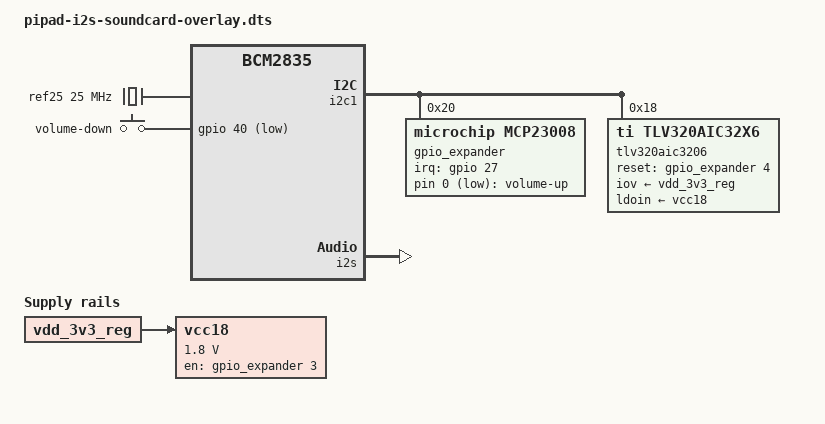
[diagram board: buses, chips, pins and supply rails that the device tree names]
#include <dt-bindings/clock/bcm2835.h>
#include <dt-bindings/gpio/gpio.h>
#include <dt-bindings/pinctrl/bcm2835.h>
#include <dt-bindings/interrupt-controller/irq.h>

/dts-v1/;
/plugin/;

/ {
    compatible = "brcm,bcm2835";
    // fragment@0 {
    //     target = <&gpio>;
    //     __overlay__ {
    //         amp_enable: amp_enable {
    //             brcm,pins = <17>;
    //             brcm,function = <1>;
    //             brcm,pull = <1>;
    //         };
    //     };
    // };

    fragment@0 {
        target = <&i2c1>;
        __overlay__ {
            #address-cells = <1>;
            #size-cells = <0>;

            gpio_expander: mcp23008@20 {
                status = "okay";
                compatible = "microchip,mcp23008";
                gpio-controller;
                #gpio-cells = <2>;
                reg = <0x20>;
                interrupt-parent = <&gpio>;
                interrupts = <27 IRQ_TYPE_LEVEL_LOW>;
                interrupt-controller;
                #interrupt-cells = <2>;

                pinctrl-names = "default";
                pinctrl-0 = <&gpio_expander_pullups>;

                gpio_expander_pullups: pinmux {
                    pins =  "gpio0";
                    bias-pull-up;
                };
            };
        };
    };

    fragment@1 {
        target-path = "/";
        __overlay__ {

            vcc18: fixedregulator@2 {
                regulator-boot-on;
                compatible = "regulator-fixed";
                regulator-name = "soundcard18";
                regulator-min-microvolt = <1800000>;
                regulator-max-microvolt = <1800000>;
                gpio = <&gpio_expander 3 0>;
                startup-delay-us = <70000>;
                enable-active-high;
                vin-supply = <&vdd_3v3_reg>;
            };

            clocks {
                ref25: ref25M {
                    compatible = "fixed-clock";
                    #clock-cells = <0>;
                    clock-frequency = <25000000>;
                    clock-output-names = "ref25M";
                };                
            };

            // amp: analog-amplifier {
            //     compatible = "simple-audio-amplifier";
            //     enable-gpios = <&gpio 17 0>;
            //     VCC-supply = <&vdd_3v3_reg>;
            // };


            gpio_keys: volume_keys0 {
                compatible = "gpio-keys";
                #address-cells = <1>;
                #size-cells = <0>;
                autorepeat;

                volume_up {
                    label = "volume-up";
                    linux,code = <115>;
                    gpios = <&gpio_expander 0 GPIO_ACTIVE_LOW>;
                    wakeup-source;
                };

                volume_down {
                    label = "volume-down";
                    linux,code = <114>;
                    gpios = <&gpio 40 GPIO_ACTIVE_LOW>;
                    wakeup-source;
                };
            };

        };
    };

    fragment@2 {
        target = <&i2c1>;
        __overlay__ {
            #address-cells = <1>;
            #size-cells = <0>;

            tlv320aic3206: tlv320aic3206@18 {
                // #address-cells = <1>;
                // #size-cells = <0>;
                status = "okay";
                #sound-dai-cells = <0>;
                compatible = "ti,tlv320aic32x6";
                reg = <0x18>;

                reset-gpios = <&gpio_expander 4 0>;
                
                iov-supply = <&vdd_3v3_reg>;
                ldoin-supply = <&vcc18>;

                clocks = <&clocks BCM2835_CLOCK_PCM>;
                clock-names = "bclk";
                ground-centered-mode;

                aic32x4-gpio-func = <
                    0xff
                    0xff
                    0xff
                    0x4  // AIC32X4_MFP_GPIO_ENABLED
                    0xc  // AIC32X4_MFP5_GPIO_OUTPUT
                >;
            };
        };
    };

    fragment@3 {
        target = <&i2s>;
        __overlay__ {
            status = "okay";
        };
    };

    fragment@4 {
        target = <&sound>;
        snd: __overlay__ {
            compatible = "simple-audio-card";
            i2s_controller = <&i2s>;
            status = "okay";
            simple-audio-card,name = "pipad";
            simple-audio-card,format = "i2s";

            simple-audio-card,bitclock-master = <&dailink0_master>;
            simple-audio-card,frame-master = <&dailink0_master>;

            simple-audio-card,widgets =
                    "Microphone", "Microphone Jack",
                    "Microphone", "Internal Microphone",
                    "Headphone", "Headphone Jack",
                    "Line", "Line Out";
                    // todo: deal with line out / switch

            simple-audio-card,routing =
                "Line Out", "LOR",
                "Line Out", "LOL",
                "Headphone Jack", "HPL",
                "Headphone Jack", "HPR",
                "IN3_L", "Microphone Jack",
                "IN1_L", "Internal Microphone",
                "IN1_R", "Internal Microphone";

            // simple-audio-card,aux-devs = <&amp>;
            dailink0_master: simple-audio-card,cpu {
                sound-dai = <&i2s>;
            };
            simple-audio-card,codec {
                sound-dai = <&tlv320aic3206>;
                system-clock-frequency = <12288000>;
                // system-clock-frequency = <1411200>;
                // mclk-fs = <32>;
            };
        };
    };

    __overrides__ {
        alsaname = <&snd>, "simple-audio-card,name";
    };
};
